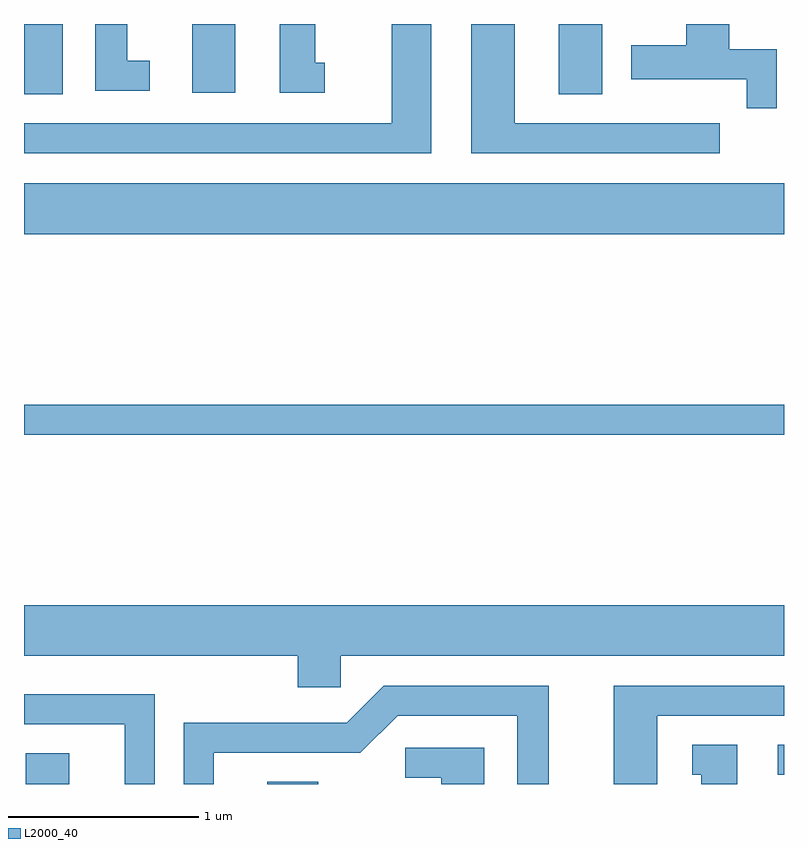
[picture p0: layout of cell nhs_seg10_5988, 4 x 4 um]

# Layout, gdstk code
import gdstk
lib = gdstk.Library(unit=1e-6, precision=1e-09)
def R(c, l, rs):  # rectangles x0, y0, x1, y1
    for r in rs: c.add(gdstk.rectangle(r[:2], r[2:], *l))
def P(c, l, *ps):  # polygons
    for p in ps: c.add(gdstk.Polygon(p, *l))
L2000_40 = (2000, 40)

nhs_seg10_5988 = lib.new_cell('nhs_seg10_5988')
R(nhs_seg10_5988, L2000_40, [(361.621,2166.522,361.849,2166.684), (362.891,2166.522,363.159,2166.534), (365.578,2166.571,365.611,2166.729), (361.611,2168.361,365.611,2168.519), (361.611,2169.416,365.611,2169.684), (361.611,2170.151,361.814,2170.522), (364.426,2170.151,364.654,2170.522), (362.496,2170.161,362.724,2170.522)])
P(nhs_seg10_5988, L2000_40, [(365.273,2169.999),(364.194,2169.999),(364.194,2170.522),(363.966,2170.522),(363.966,2169.841),(365.273,2169.841)],
  [(363.754,2170.522),(363.546,2170.522),(363.546,2169.999),(361.611,2169.999),(361.611,2169.841),(363.754,2169.841)],
  [(365.574,2170.389),(365.324,2170.389),(365.324,2170.522),(365.096,2170.522),(365.096,2170.409),(364.806,2170.409),(364.806,2170.231),(365.416,2170.231),(365.416,2170.078),(365.574,2170.078)],
  [(362.273,2170.329),(362.154,2170.329),(362.154,2170.522),(361.986,2170.522),(361.986,2170.171),(362.273,2170.171)],
  [(363.193,2170.319),(363.144,2170.319),(363.144,2170.522),(362.956,2170.522),(362.956,2170.161),(363.193,2170.161)],
  [(363.279,2167.196),(365.611,2167.196),(365.611,2167.464),(361.611,2167.464),(361.611,2167.196),(363.051,2167.196),(363.051,2167.031),(363.279,2167.031)],
  [(362.609,2166.686),(363.382,2166.686),(363.577,2166.881),(364.206,2166.881),(364.206,2166.522),(364.374,2166.522),(364.374,2167.039),(363.504,2167.039),(363.309,2166.844),(362.451,2166.844),(362.451,2166.522),(362.609,2166.522)],
  [(364.944,2166.881),(365.611,2166.881),(365.611,2167.039),(364.716,2167.039),(364.716,2166.522),(364.944,2166.522)],
  [(362.299,2166.994),(361.611,2166.994),(361.611,2166.836),(362.141,2166.836),(362.141,2166.522),(362.299,2166.522)],
  [(365.364,2166.729),(365.128,2166.729),(365.128,2166.571),(365.176,2166.571),(365.176,2166.522),(365.364,2166.522)],
  [(364.034,2166.714),(363.618,2166.714),(363.618,2166.556),(363.806,2166.556),(363.806,2166.522),(364.034,2166.522)])

lib.write_gds('nhs_seg10_5988.gds')
